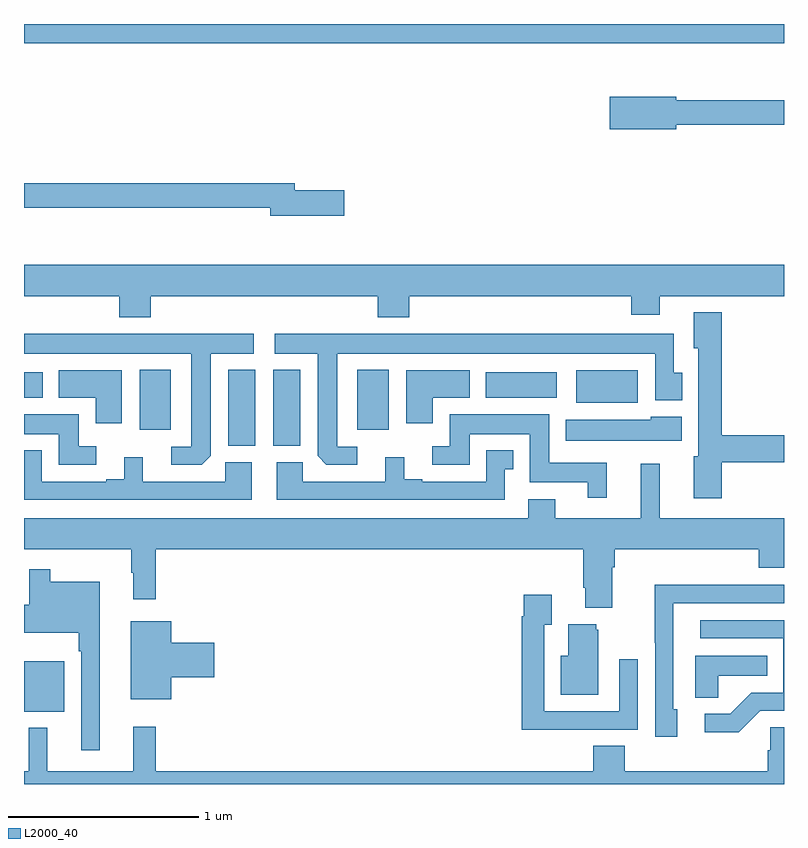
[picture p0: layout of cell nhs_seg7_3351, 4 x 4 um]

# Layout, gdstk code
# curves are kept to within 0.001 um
import gdstk
lib = gdstk.Library(unit=1e-6, precision=1e-09)
def R(c, l, rs):  # rectangles x0, y0, x1, y1
    for r in rs: c.add(gdstk.rectangle(r[:2], r[2:], *l))
def P(c, l, *ps):  # polygons
    for p in ps: c.add(gdstk.Polygon(p, *l))
L2000_40 = (2000, 40)

nhs_seg7_3351 = lib.new_cell('nhs_seg7_3351')
R(nhs_seg7_3351, L2000_40, [(323,1046.381,323.212,1046.647), (324.074,1047.779,324.217,1048.18), (324.311,1047.779,324.454,1048.18), (323.609,1047.864,323.773,1048.18), (324.755,1047.864,324.919,1048.18), (325.907,1048.007,326.23,1048.177), (323,1048.034,323.098,1048.168), (325.43,1048.034,325.804,1048.168), (323,1049.9,327,1050)])
P(nhs_seg7_3351, L2000_40, [(326.434,1049.47),(327,1049.47),(327,1049.599),(326.434,1049.599),(326.434,1049.617),(326.082,1049.617),(326.082,1049.447),(326.434,1049.447)],
  [(324.685,1049.126),(324.424,1049.126),(324.424,1049.162),(323,1049.162),(323,1049.034),(324.296,1049.034),(324.296,1048.991),(324.685,1048.991)],
  [(323.666,1048.568),(324.863,1048.568),(324.863,1048.457),(325.028,1048.457),(325.028,1048.568),(326.195,1048.568),(326.195,1048.469),(326.347,1048.469),(326.347,1048.568),(327,1048.568),(327,1048.732),(323,1048.732),(323,1048.568),(323.501,1048.568),(323.501,1048.457),(323.666,1048.457)],
  [(326.672,1047.694),(327,1047.694),(327,1047.836),(326.672,1047.836),(326.672,1048.483),(326.525,1048.483),(326.525,1048.293),(326.549,1048.293),(326.549,1047.726),(326.525,1047.726),(326.525,1047.504),(326.672,1047.504)],
  [(323.982,1047.727),(323.983,1048.265),(324.208,1048.265),(324.208,1048.369),(323,1048.369),(323,1048.265),(323.879,1048.265),(323.879,1047.774),(323.775,1047.774),(323.775,1047.681),(323.936,1047.681)],
  [(324.754,1047.774),(324.649,1047.774),(324.649,1048.265),(326.322,1048.265),(326.322,1048.02),(326.464,1048.02),(326.464,1048.164),(326.419,1048.164),(326.419,1048.369),(324.321,1048.369),(324.321,1048.265),(324.545,1048.265),(324.546,1047.727),(324.592,1047.681),(324.754,1047.681)],
  [(323.515,1048.177),(323.183,1048.177),(323.183,1048.034),(323.378,1048.034),(323.378,1047.9),(323.515,1047.9)],
  [(325.15,1048.034),(325.345,1048.034),(325.345,1048.177),(325.013,1048.177),(325.013,1047.9),(325.15,1047.9)],
  [(323.38,1047.777),(323.287,1047.777),(323.287,1047.946),(323,1047.946),(323,1047.842),(323.183,1047.842),(323.183,1047.681),(323.38,1047.681)],
  [(326.066,1047.691),(325.765,1047.691),(325.765,1047.946),(325.241,1047.946),(325.241,1047.777),(325.149,1047.777),(325.149,1047.681),(325.345,1047.681),(325.345,1047.842),(325.661,1047.842),(325.661,1047.587),(325.967,1047.587),(325.967,1047.507),(326.066,1047.507)],
  [(326.461,1047.934),(326.298,1047.934),(326.298,1047.916),(325.85,1047.916),(325.85,1047.806),(326.461,1047.806)],
  [(324.199,1047.694),(324.06,1047.694),(324.06,1047.591),(323.626,1047.591),(323.626,1047.721),(323.528,1047.721),(323.528,1047.603),(323.432,1047.603),(323.432,1047.591),(323.094,1047.591),(323.094,1047.757),(323,1047.757),(323,1047.495),(324.199,1047.495)],
  [(325.53,1047.657),(325.576,1047.657),(325.576,1047.757),(325.434,1047.757),(325.434,1047.591),(325.096,1047.591),(325.096,1047.603),(325,1047.603),(325,1047.721),(324.902,1047.721),(324.902,1047.591),(324.468,1047.591),(324.468,1047.694),(324.329,1047.694),(324.329,1047.495),(325.53,1047.495)],
  [(326.095,1047.14),(326.108,1047.14),(326.108,1047.236),(326.867,1047.236),(326.867,1047.137),(327,1047.137),(327,1047.4),(326.345,1047.4),(326.345,1047.685),(326.246,1047.685),(326.246,1047.4),(325.795,1047.4),(325.795,1047.499),(325.655,1047.499),(325.655,1047.4),(323,1047.4),(323,1047.236),(323.565,1047.236),(323.565,1047.113),(323.576,1047.113),(323.576,1046.973),(323.693,1046.973),(323.693,1047.236),(325.943,1047.236),(325.943,1047.034),(325.955,1047.034),(325.955,1046.927),(326.095,1046.927)],
  [(323.398,1047.064),(323.137,1047.064),(323.137,1047.13),(323.027,1047.13),(323.027,1046.943),(323,1046.943),(323,1046.795),(323.289,1046.795),(323.289,1046.699),(323.301,1046.699),(323.301,1046.178),(323.398,1046.178)],
  [(326.437,1046.394),(326.418,1046.394),(326.418,1046.952),(327,1046.952),(327,1047.048),(326.783,1047.048),(326.783,1047.05),(326.32,1047.05),(326.32,1046.743),(326.322,1046.743),(326.322,1046.25),(326.437,1046.25)],
  [(325.913,1046.286),(326.229,1046.286),(326.229,1046.656),(326.133,1046.656),(326.133,1046.382),(325.737,1046.382),(325.737,1046.839),(325.777,1046.839),(325.777,1046.995),(325.629,1046.995),(325.629,1046.882),(325.621,1046.882),(325.621,1046.285),(325.913,1046.285)],
  [(326.874,1046.385),(327,1046.385),(327,1046.862),(326.559,1046.862),(326.559,1046.766),(326.997,1046.766),(326.997,1046.481),(326.828,1046.481),(326.717,1046.37),(326.583,1046.37),(326.583,1046.273),(326.761,1046.273)],
  [(323.776,1046.561),(324.001,1046.561),(324.001,1046.744),(323.776,1046.744),(323.776,1046.857),(323.561,1046.857),(323.561,1046.447),(323.776,1046.447)],
  [(326.023,1046.811),(326.012,1046.811),(326.012,1046.842),(325.865,1046.842),(325.865,1046.674),(325.826,1046.674),(325.826,1046.471),(326.023,1046.471)],
  [(326.655,1046.57),(326.912,1046.57),(326.912,1046.674),(326.534,1046.674),(326.534,1046.455),(326.655,1046.455)],
  [(327,1046.3),(326.928,1046.3),(326.928,1046.177),(326.915,1046.177),(326.915,1046.068),(326.162,1046.068),(326.162,1046.201),(325.997,1046.201),(325.997,1046.068),(323.693,1046.068),(323.693,1046.302),(323.576,1046.302),(323.576,1046.068),(323.123,1046.068),(323.123,1046.296),(323.024,1046.296),(323.024,1046.068),(323,1046.068),(323,1046),(327,1046)])

lib.write_gds('nhs_seg7_3351.gds')
